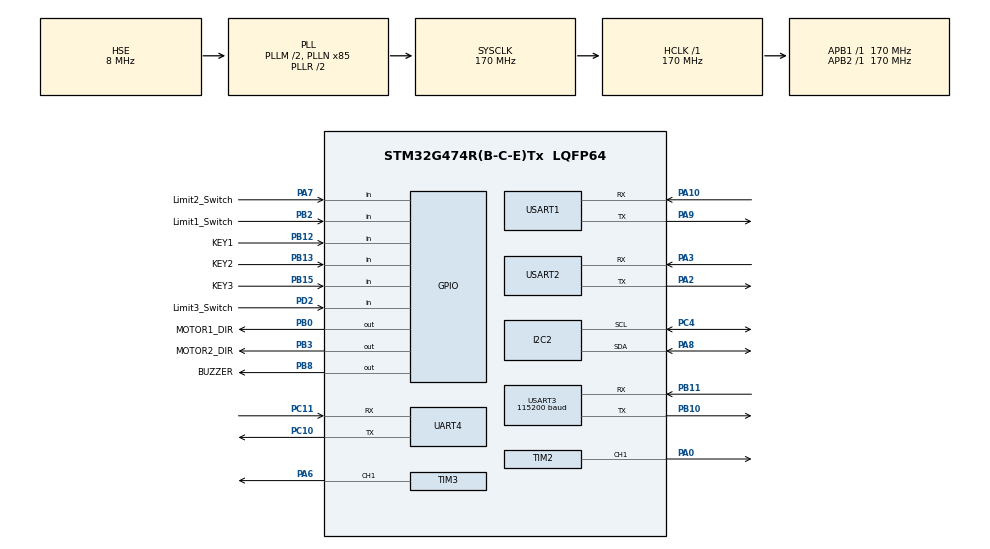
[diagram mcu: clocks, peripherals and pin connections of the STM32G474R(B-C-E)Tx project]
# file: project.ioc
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I2C2.Timing=0x40B285C2
Mcu.Family=STM32G4
Mcu.Name=STM32G474R(B-C-E)Tx
Mcu.Package=LQFP64
NVIC.PriorityGroup=NVIC_PRIORITYGROUP_4
NVIC.TIM2_IRQn=true\:0\:0\:false\:false\:true\:true\:true\:true
NVIC.TIM3_IRQn=true\:0\:0\:false\:false\:true\:true\:true\:true
NVIC.USART1_IRQn=true\:0\:0\:false\:false\:true\:true\:true\:true
NVIC.USART2_IRQn=true\:2\:0\:true\:false\:true\:true\:true\:true
NVIC.USART3_IRQn=true\:0\:0\:false\:false\:true\:true\:true\:true
PA0.GPIO_Speed=GPIO_SPEED_FREQ_HIGH
PA0.Signal=S_TIM2_CH1
PA10.GPIO_Speed=GPIO_SPEED_FREQ_HIGH
PA10.Mode=Asynchronous
PA10.Signal=USART1_RX
PA13.Mode=Serial_Wire
PA13.Signal=SYS_JTMS-SWDIO
PA14.Mode=Serial_Wire
PA14.Signal=SYS_JTCK-SWCLK
PA2.GPIO_Speed=GPIO_SPEED_FREQ_HIGH
PA2.Mode=Asynchronous
PA2.Signal=USART2_TX
PA3.GPIO_Speed=GPIO_SPEED_FREQ_HIGH
PA3.Mode=Asynchronous
PA3.Signal=USART2_RX
PA6.GPIO_Speed=GPIO_SPEED_FREQ_HIGH
PA6.Signal=S_TIM3_CH1
PA7.GPIO_Label=Limit2_Switch
PA7.GPIO_PuPd=GPIO_PULLUP
PA7.Signal=GPIO_Input
PA8.GPIO_Speed=GPIO_SPEED_FREQ_HIGH
PA8.Mode=I2C
PA8.Signal=I2C2_SDA
PA9.GPIO_Speed=GPIO_SPEED_FREQ_HIGH
PA9.Mode=Asynchronous
PA9.Signal=USART1_TX
PB0.GPIO_Label=MOTOR1_DIR
PB0.Signal=GPIO_Output
PB10.GPIO_Speed=GPIO_SPEED_FREQ_HIGH
PB10.Mode=Asynchronous
PB10.Signal=USART3_TX
PB11.GPIO_Speed=GPIO_SPEED_FREQ_HIGH
PB11.Mode=Asynchronous
PB11.Signal=USART3_RX
PB12.GPIO_Label=KEY1
PB12.GPIO_PuPd=GPIO_PULLUP
PB12.Signal=GPIO_Input
PB13.GPIO_Label=KEY2
PB13.GPIO_PuPd=GPIO_PULLUP
PB13.Signal=GPIO_Input
PB15.GPIO_Label=KEY3
PB15.GPIO_PuPd=GPIO_PULLUP
PB15.Signal=GPIO_Input
PB2.GPIO_Label=Limit1_Switch
PB2.GPIO_PuPd=GPIO_PULLUP
PB2.Signal=GPIO_Input
PB3.GPIO_Label=MOTOR2_DIR
PB3.Signal=GPIO_Output
PB8-BOOT0.GPIO_Label=BUZZER
PB8-BOOT0.PinState=GPIO_PIN_SET
PB8-BOOT0.Signal=GPIO_Output
PC10.Mode=Asynchronous
PC10.Signal=UART4_TX
PC11.Mode=Asynchronous
PC11.Signal=UART4_RX
PC4.GPIO_Speed=GPIO_SPEED_FREQ_HIGH
PC4.Mode=I2C
PC4.Signal=I2C2_SCL
PD2.GPIO_Label=Limit3_Switch
PD2.GPIO_PuPd=GPIO_PULLUP
PD2.Signal=GPIO_Input
PF0-OSC_IN.Mode=HSE-External-Oscillator
PF0-OSC_IN.Signal=RCC_OSC_IN
PF1-OSC_OUT.Mode=HSE-External-Oscillator
PF1-OSC_OUT.Signal=RCC_OSC_OUT
ProjectManager.HeapSize=0x200
ProjectManager.StackSize=0x400
ProjectManager.TargetToolchain=MDK-ARM V5.32
RCC.ADC12Freq_Value=170000000
RCC.ADC345Freq_Value=170000000
RCC.AHBFreq_Value=170000000
RCC.APB1Freq_Value=170000000
RCC.APB1TimFreq_Value=170000000
RCC.APB2Freq_Value=170000000
RCC.APB2TimFreq_Value=170000000
RCC.CortexFreq_Value=170000000
RCC.EXTERNAL_CLOCK_VALUE=12288000
RCC.HCLKFreq_Value=170000000
RCC.HSE_VALUE=8000000
RCC.HSI48_VALUE=48000000
RCC.HSI_VALUE=16000000
RCC.LSE_VALUE=32768
RCC.PLLM=RCC_PLLM_DIV2
RCC.PLLN=85
RCC.PLLSourceVirtual=RCC_PLLSOURCE_HSE
RCC.SYSCLKFreq_VALUE=170000000
RCC.SYSCLKSource=RCC_SYSCLKSOURCE_PLLCLK
RCC.USBFreq_Value=170000000
RCC.VCOOutputFreq_Value=340000000
SH.S_TIM2_CH1.0=TIM2_CH1,Output Compare1 CH1
SH.S_TIM3_CH1.0=TIM3_CH1,Output Compare1 CH1
TIM2.Channel-Output\ Compare1\ CH1=TIM_CHANNEL_1
TIM2.OCMode_1=TIM_OCMODE_TOGGLE
TIM2.PeriodNoDither=65535
TIM2.Prescaler=169
TIM3.Channel-Output\ Compare1\ CH1=TIM_CHANNEL_1
TIM3.OCMode_1=TIM_OCMODE_TOGGLE
TIM3.Prescaler=169
USART1.VirtualMode-Asynchronous=VM_ASYNC
USART2.VirtualMode-Asynchronous=VM_ASYNC
USART3.BaudRate=115200
USART3.VirtualMode-Asynchronous=VM_ASYNC
VP_SYS_VS_DBSignals.Mode=DisableDeadBatterySignals
VP_TIM2_VS_ClockSourceINT.Mode=Internal
VP_TIM3_VS_ClockSourceINT.Mode=Internal
board=custom

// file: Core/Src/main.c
/* USER CODE BEGIN Header */
/**
  ******************************************************************************
  * @file           : main.c
  * @brief          : Main program body
  ******************************************************************************
  * @attention
  *
  * Copyright (c) 2026 STMicroelectronics.
  * All rights reserved.
  *
  * This software is licensed under terms that can be found in the LICENSE file
  * in the root directory of this software component.
  * If no LICENSE file comes with this software, it is provided AS-IS.
  *
  ******************************************************************************
  */
/* USER CODE END Header */
#include "main.h"

/* USER CODE BEGIN Includes */
#include "Motor.h"
#include "display.h"
#include "SCServo.h"
#include "task_key.h"
#include "vision.h"
#include "uart.h"
#include "OLED.h"
#include <stdio.h>
/* USER CODE END Includes */

I2C_HandleTypeDef hi2c2;

TIM_HandleTypeDef htim2;
TIM_HandleTypeDef htim3;

UART_HandleTypeDef huart4;
UART_HandleTypeDef huart1;
UART_HandleTypeDef huart2;
UART_HandleTypeDef huart3;

/* USER CODE BEGIN PV */
StepperMotor motor1;
StepperMotor motor2;
int oled_sent_flag = 0;   /* OLED 发送状态 */
/* USER CODE END PV */

void SystemClock_Config(void);
static void MX_GPIO_Init(void);
static void MX_TIM2_Init(void);
static void MX_TIM3_Init(void);
static void MX_UART4_Init(void);
static void MX_USART2_UART_Init(void);
static void MX_USART1_UART_Init(void);
static void MX_USART3_UART_Init(void);
static void MX_I2C2_Init(void);

/* USER CODE BEGIN 0 */
#define BEEP_ON()   HAL_GPIO_WritePin(BUZZER_GPIO_Port, BUZZER_Pin, GPIO_PIN_RESET)   // 低电平触发
#define BEEP_OFF()  HAL_GPIO_WritePin(BUZZER_GPIO_Port, BUZZER_Pin, GPIO_PIN_SET)
/* USER CODE END 0 */

int main(void)
{

  /* MCU Configuration--------------------------------------------------------*/

  /* Reset of all peripherals, Initializes the Flash interface and the Systick. */
  HAL_Init();

  /* Configure the system clock */
  SystemClock_Config();

  /* Initialize all configured peripherals */
  MX_GPIO_Init();
  MX_TIM2_Init();
  MX_TIM3_Init();
  MX_UART4_Init();
  MX_USART2_UART_Init();
  MX_USART1_UART_Init();
  MX_USART3_UART_Init();
  MX_I2C2_Init();
  /* USER CODE BEGIN 2 */
  /* --- 显示 --- */
  Display_Init();
  HAL_Delay(200);

  /* --- 电机1: TIM3_CH1(PA6), DIR=PB0 --- */
  Stepper_Init(&motor1, &htim3, TIM_CHANNEL_1,
               GPIOB, MOTOR1_DIR_Pin, NULL, 0,
               GPIOB, Limit1_Switch_Pin);
  Stepper_SetLimit2(&motor1, GPIOD, Limit3_Switch_Pin);

  /* --- 电机2: TIM2_CH1(PA0), DIR=PB3 --- */
  Stepper_Init(&motor2, &htim2, TIM_CHANNEL_1,
               GPIOB, MOTOR2_DIR_Pin, NULL, 0,
               GPIOA, Limit2_Switch_Pin);

  OLED_Init();
  OLED_Clear();
  OLED_ShowString(0, 0, "Q:", OLED_8X16);
  OLED_ShowNum(16, 0, scan.question_num, 1, OLED_8X16);
  OLED_ShowString(40, 0, "S:0", OLED_8X16);
  OLED_ShowString(0, 16, "1:", OLED_8X16);
  OLED_ShowString(0, 32, "2:", OLED_8X16);
  OLED_Update();

  // Stepper_SetSpeed(&motor1, -150);
  // while (HAL_GPIO_ReadPin(Limit1_Switch_GPIO_Port, Limit1_Switch_Pin) != GPIO_PIN_RESET) {
  //     HAL_Delay(1);                                              /* 等 Limit1 变低 */
  // }
  // Stepper_Stop(&motor1);
  // /* --- 电机初始化 --- */
  motor1.position = 0;
  motor2.position = 0;

  // Stepper_MoveRel_Limit(&motor1, -3000, 60);
  // while (motor1.running) {
  //     OLED_ShowString(0, 16, "1:", OLED_8X16);
  //     OLED_ShowSignedNum(16, 22, motor1.position, 8, OLED_8X16);
  //     OLED_Update();
  //     HAL_Delay(1);
  // }
  // if (motor1.remaining > 0) {
  //     OLED_ShowString(0, 16, "Full:", OLED_8X16);
  //     OLED_ShowSignedNum(40, 22, motor1.remaining, 8, OLED_8X16);
  //     OLED_Update();
  //     HAL_Delay(2000);
  // }

  // Stepper_MoveRel_Limit(&motor2, -3000, 60);
  // while (motor2.running) {
  //     OLED_ShowString(0, 32, "2:", OLED_8X16);
  //     OLED_ShowSignedNum(16, 44, motor2.position, 8, OLED_8X16);
  //     OLED_Update();
  //     HAL_Delay(1);
  // }
  // if (motor2.remaining > 0) {
  //     OLED_ShowString(0, 32, "Full:", OLED_8X16);
  //     OLED_ShowSignedNum(40, 44, motor2.remaining, 8, OLED_8X16);
  //     OLED_Update();
  //     HAL_Delay(2000);
  // }
  /* --- 舵机多圈测试: 解锁角度限制, 直接跨圈 --- */
  Servo_SetUART(&huart2);
  EnableTorque(1, 1);
  HAL_Delay(100);

  /* 解除角度限制 (使能多圈模式) */
  unLockEprom(1);
  writeWord(1, SMS_STS_MIN_ANGLE_LIMIT_L, 0);
  writeWord(1, SMS_STS_MAX_ANGLE_LIMIT_L, 0);
  LockEprom(1);
  HAL_Delay(50);

  /* 先到 0 */
///WritePosEx(1, 0, 90, 0);

  /* 往前走 5000 步: WritePosEx 直接传负值, 舵机会跨圈走过去 */
  WritePosEx(1, -6300, 90, 0);

  /* --- 视觉通讯 --- */
  Vision_Init();
  /* USER CODE END 2 */

  /* Infinite loop */
  while (1)
  {

    /* USER CODE BEGIN 3 */
    Key_Scan();

    /* --- OLED 实时显示: 题号 / 状态 / 双电机脉冲 --- */
    {
        static int32_t last_pos1 = 0, last_pos2 = 0;
        static int16_t last_qnum = 0;
        static uint8_t  last_state = 0;

        if (motor1.position   != last_pos1  ||
            motor2.position   != last_pos2  ||
            scan.question_num != last_qnum  ||
            scan.state        != last_state)
        {
            OLED_ShowString(0, 0, "Q:", OLED_8X16);
            OLED_ShowNum(16, 0, scan.question_num, 1, OLED_8X16);
            OLED_ShowString(40, 0, "S:", OLED_8X16);
            OLED_ShowNum(56, 0, scan.state, 1, OLED_8X16);

            OLED_ShowString(0, 16, "1:", OLED_8X16);
            OLED_ShowSignedNum(16, 16, motor1.position, 8, OLED_8X16);

            OLED_ShowString(0, 32, "2:", OLED_8X16);
            OLED_ShowSignedNum(16, 32, motor2.position, 8, OLED_8X16);

            OLED_Update();

            last_pos1  = motor1.position;
            last_pos2  = motor2.position;
            last_qnum  = scan.question_num;
            last_state = scan.state;
        }
    }

    /* --- 题号变化 → 更新串口屏 + 复位视觉 --- */
    {
        static int16_t last_qnum = 1;
        if (scan.question_num != last_qnum) {
            Vision_Reset();
            last_qnum = scan.question_num;
        }
    }

    /* --- state==1 → 持续发送题号给视觉 --- */
    if (scan.state) {
        Vision_SendQuestion(scan.question_num);
    }

    /* --- 视觉数据就绪 → 更新串口屏 --- */
    if (Vision_DataReady()) {
        VisionData_t d;
        Vision_GetData(&d);

        Display_UpdateAngles(d.angles[0], d.angles[1],
                             d.angles[2], d.angles[3]);
        Display_UpdateCoords(d.xs[0], d.ys[0],
                             d.xs[1], d.ys[1],
                             d.xs[2], d.ys[2],
                             d.xs[3], d.ys[3],
                             d.xs[4], d.ys[4],
                             d.xs[5], d.ys[5],
                             d.xs[6], d.ys[6],
                             d.xs[7], d.ys[7]);
        Display_UpdateRxCount(Vision_GetRxCount());
    }

  }
  /* USER CODE END 3 */
}

void SystemClock_Config(void)
{
  RCC_OscInitTypeDef RCC_OscInitStruct = {0};
  RCC_ClkInitTypeDef RCC_ClkInitStruct = {0};

  /** Configure the main internal regulator output voltage
  */
  HAL_PWREx_ControlVoltageScaling(PWR_REGULATOR_VOLTAGE_SCALE1_BOOST);

  /** Initializes the RCC Oscillators according to the specified parameters
  * in the RCC_OscInitTypeDef structure.
  */
  RCC_OscInitStruct.OscillatorType = RCC_OSCILLATORTYPE_HSE;
  RCC_OscInitStruct.HSEState = RCC_HSE_ON;
  RCC_OscInitStruct.PLL.PLLState = RCC_PLL_ON;
  RCC_OscInitStruct.PLL.PLLSource = RCC_PLLSOURCE_HSE;
  RCC_OscInitStruct.PLL.PLLM = RCC_PLLM_DIV2;
  RCC_OscInitStruct.PLL.PLLN = 85;
  RCC_OscInitStruct.PLL.PLLP = RCC_PLLP_DIV2;
  RCC_OscInitStruct.PLL.PLLQ = RCC_PLLQ_DIV2;
  RCC_OscInitStruct.PLL.PLLR = RCC_PLLR_DIV2;
  if (HAL_RCC_OscConfig(&RCC_OscInitStruct) != HAL_OK)
  {
    Error_Handler();
  }

  /** Initializes the CPU, AHB and APB buses clocks
  */
  RCC_ClkInitStruct.ClockType = RCC_CLOCKTYPE_HCLK|RCC_CLOCKTYPE_SYSCLK
                              |RCC_CLOCKTYPE_PCLK1|RCC_CLOCKTYPE_PCLK2;
  RCC_ClkInitStruct.SYSCLKSource = RCC_SYSCLKSOURCE_PLLCLK;
  RCC_ClkInitStruct.AHBCLKDivider = RCC_SYSCLK_DIV1;
  RCC_ClkInitStruct.APB1CLKDivider = RCC_HCLK_DIV1;
  RCC_ClkInitStruct.APB2CLKDivider = RCC_HCLK_DIV1;

  if (HAL_RCC_ClockConfig(&RCC_ClkInitStruct, FLASH_LATENCY_4) != HAL_OK)
  {
    Error_Handler();
  }
}

static void MX_I2C2_Init(void)
{

  hi2c2.Instance = I2C2;
  hi2c2.Init.Timing = 0x40B285C2;
  hi2c2.Init.OwnAddress1 = 0;
  hi2c2.Init.AddressingMode = I2C_ADDRESSINGMODE_7BIT;
  hi2c2.Init.DualAddressMode = I2C_DUALADDRESS_DISABLE;
  hi2c2.Init.OwnAddress2 = 0;
  hi2c2.Init.OwnAddress2Masks = I2C_OA2_NOMASK;
  hi2c2.Init.GeneralCallMode = I2C_GENERALCALL_DISABLE;
  hi2c2.Init.NoStretchMode = I2C_NOSTRETCH_DISABLE;
  if (HAL_I2C_Init(&hi2c2) != HAL_OK)
  {
    Error_Handler();
  }

  /** Configure Analogue filter
  */
  if (HAL_I2CEx_ConfigAnalogFilter(&hi2c2, I2C_ANALOGFILTER_ENABLE) != HAL_OK)
  {
    Error_Handler();
  }

  /** Configure Digital filter
  */
  if (HAL_I2CEx_ConfigDigitalFilter(&hi2c2, 0) != HAL_OK)
  {
    Error_Handler();
  }

}

static void MX_TIM2_Init(void)
{

  TIM_ClockConfigTypeDef sClockSourceConfig = {0};
  TIM_MasterConfigTypeDef sMasterConfig = {0};
  TIM_OC_InitTypeDef sConfigOC = {0};

  htim2.Instance = TIM2;
  htim2.Init.Prescaler = 169;
  htim2.Init.CounterMode = TIM_COUNTERMODE_UP;
  htim2.Init.Period = 65535;
  htim2.Init.ClockDivision = TIM_CLOCKDIVISION_DIV1;
  htim2.Init.AutoReloadPreload = TIM_AUTORELOAD_PRELOAD_DISABLE;
  if (HAL_TIM_Base_Init(&htim2) != HAL_OK)
  {
    Error_Handler();
  }
  sClockSourceConfig.ClockSource = TIM_CLOCKSOURCE_INTERNAL;
  if (HAL_TIM_ConfigClockSource(&htim2, &sClockSourceConfig) != HAL_OK)
  {
    Error_Handler();
  }
  if (HAL_TIM_OC_Init(&htim2) != HAL_OK)
  {
    Error_Handler();
  }
  sMasterConfig.MasterOutputTrigger = TIM_TRGO_RESET;
  sMasterConfig.MasterSlaveMode = TIM_MASTERSLAVEMODE_DISABLE;
  if (HAL_TIMEx_MasterConfigSynchronization(&htim2, &sMasterConfig) != HAL_OK)
  {
    Error_Handler();
  }
  sConfigOC.OCMode = TIM_OCMODE_TOGGLE;
  sConfigOC.Pulse = 0;
  sConfigOC.OCPolarity = TIM_OCPOLARITY_HIGH;
  sConfigOC.OCFastMode = TIM_OCFAST_DISABLE;
  if (HAL_TIM_OC_ConfigChannel(&htim2, &sConfigOC, TIM_CHANNEL_1) != HAL_OK)
  {
    Error_Handler();
  }
  HAL_TIM_MspPostInit(&htim2);

}

static void MX_TIM3_Init(void)
{

  TIM_ClockConfigTypeDef sClockSourceConfig = {0};
  TIM_MasterConfigTypeDef sMasterConfig = {0};
  TIM_OC_InitTypeDef sConfigOC = {0};

  htim3.Instance = TIM3;
  htim3.Init.Prescaler = 169;
  htim3.Init.CounterMode = TIM_COUNTERMODE_UP;
  htim3.Init.Period = 65535;
  htim3.Init.ClockDivision = TIM_CLOCKDIVISION_DIV1;
  htim3.Init.AutoReloadPreload = TIM_AUTORELOAD_PRELOAD_DISABLE;
  if (HAL_TIM_Base_Init(&htim3) != HAL_OK)
  {
    Error_Handler();
  }
  sClockSourceConfig.ClockSource = TIM_CLOCKSOURCE_INTERNAL;
  if (HAL_TIM_ConfigClockSource(&htim3, &sClockSourceConfig) != HAL_OK)
  {
    Error_Handler();
  }
  if (HAL_TIM_OC_Init(&htim3) != HAL_OK)
  {
    Error_Handler();
  }
  sMasterConfig.MasterOutputTrigger = TIM_TRGO_RESET;
  sMasterConfig.MasterSlaveMode = TIM_MASTERSLAVEMODE_DISABLE;
  if (HAL_TIMEx_MasterConfigSynchronization(&htim3, &sMasterConfig) != HAL_OK)
  {
    Error_Handler();
  }
  sConfigOC.OCMode = TIM_OCMODE_TOGGLE;
  sConfigOC.Pulse = 0;
  sConfigOC.OCPolarity = TIM_OCPOLARITY_HIGH;
  sConfigOC.OCFastMode = TIM_OCFAST_DISABLE;
  if (HAL_TIM_OC_ConfigChannel(&htim3, &sConfigOC, TIM_CHANNEL_1) != HAL_OK)
  {
    Error_Handler();
  }
  HAL_TIM_MspPostInit(&htim3);

}

static void MX_UART4_Init(void)
{

  huart4.Instance = UART4;
  huart4.Init.BaudRate = 115200;
  huart4.Init.WordLength = UART_WORDLENGTH_8B;
  huart4.Init.StopBits = UART_STOPBITS_1;
  huart4.Init.Parity = UART_PARITY_NONE;
  huart4.Init.Mode = UART_MODE_TX_RX;
  huart4.Init.HwFlowCtl = UART_HWCONTROL_NONE;
  huart4.Init.OverSampling = UART_OVERSAMPLING_16;
  huart4.Init.OneBitSampling = UART_ONE_BIT_SAMPLE_DISABLE;
  huart4.Init.ClockPrescaler = UART_PRESCALER_DIV1;
  huart4.AdvancedInit.AdvFeatureInit = UART_ADVFEATURE_NO_INIT;
  if (HAL_UART_Init(&huart4) != HAL_OK)
  {
    Error_Handler();
  }
  if (HAL_UARTEx_SetTxFifoThreshold(&huart4, UART_TXFIFO_THRESHOLD_1_8) != HAL_OK)
  {
    Error_Handler();
  }
  if (HAL_UARTEx_SetRxFifoThreshold(&huart4, UART_RXFIFO_THRESHOLD_1_8) != HAL_OK)
  {
    Error_Handler();
  }
  if (HAL_UARTEx_DisableFifoMode(&huart4) != HAL_OK)
  {
    Error_Handler();
  }

}

static void MX_USART1_UART_Init(void)
{

  huart1.Instance = USART1;
  huart1.Init.BaudRate = 115200;
  huart1.Init.WordLength = UART_WORDLENGTH_8B;
  huart1.Init.StopBits = UART_STOPBITS_1;
  huart1.Init.Parity = UART_PARITY_NONE;
  huart1.Init.Mode = UART_MODE_TX_RX;
  huart1.Init.HwFlowCtl = UART_HWCONTROL_NONE;
  huart1.Init.OverSampling = UART_OVERSAMPLING_16;
  huart1.Init.OneBitSampling = UART_ONE_BIT_SAMPLE_DISABLE;
  huart1.Init.ClockPrescaler = UART_PRESCALER_DIV1;
  huart1.AdvancedInit.AdvFeatureInit = UART_ADVFEATURE_NO_INIT;
  if (HAL_UART_Init(&huart1) != HAL_OK)
  {
    Error_Handler();
  }
  if (HAL_UARTEx_SetTxFifoThreshold(&huart1, UART_TXFIFO_THRESHOLD_1_8) != HAL_OK)
  {
    Error_Handler();
  }
  if (HAL_UARTEx_SetRxFifoThreshold(&huart1, UART_RXFIFO_THRESHOLD_1_8) != HAL_OK)
  {
    Error_Handler();
  }
  if (HAL_UARTEx_DisableFifoMode(&huart1) != HAL_OK)
  {
    Error_Handler();
  }

}

static void MX_USART2_UART_Init(void)
{

  huart2.Instance = USART2;
  huart2.Init.BaudRate = 115200;
  huart2.Init.WordLength = UART_WORDLENGTH_8B;
  huart2.Init.StopBits = UART_STOPBITS_1;
  huart2.Init.Parity = UART_PARITY_NONE;
  huart2.Init.Mode = UART_MODE_TX_RX;
  huart2.Init.HwFlowCtl = UART_HWCONTROL_NONE;
  huart2.Init.OverSampling = UART_OVERSAMPLING_16;
  huart2.Init.OneBitSampling = UART_ONE_BIT_SAMPLE_DISABLE;
  huart2.Init.ClockPrescaler = UART_PRESCALER_DIV1;
  huart2.AdvancedInit.AdvFeatureInit = UART_ADVFEATURE_NO_INIT;
  if (HAL_UART_Init(&huart2) != HAL_OK)
  {
    Error_Handler();
  }
  if (HAL_UARTEx_SetTxFifoThreshold(&huart2, UART_TXFIFO_THRESHOLD_1_8) != HAL_OK)
  {
    Error_Handler();
  }
  if (HAL_UARTEx_SetRxFifoThreshold(&huart2, UART_RXFIFO_THRESHOLD_1_8) != HAL_OK)
  {
    Error_Handler();
  }
  if (HAL_UARTEx_DisableFifoMode(&huart2) != HAL_OK)
  {
    Error_Handler();
  }

}

static void MX_USART3_UART_Init(void)
{

  huart3.Instance = USART3;
  huart3.Init.BaudRate = 115200;
  huart3.Init.WordLength = UART_WORDLENGTH_8B;
  huart3.Init.StopBits = UART_STOPBITS_1;
  huart3.Init.Parity = UART_PARITY_NONE;
  huart3.Init.Mode = UART_MODE_TX_RX;
  huart3.Init.HwFlowCtl = UART_HWCONTROL_NONE;
  huart3.Init.OverSampling = UART_OVERSAMPLING_16;
  huart3.Init.OneBitSampling = UART_ONE_BIT_SAMPLE_DISABLE;
  huart3.Init.ClockPrescaler = UART_PRESCALER_DIV1;
  huart3.AdvancedInit.AdvFeatureInit = UART_ADVFEATURE_NO_INIT;
  if (HAL_UART_Init(&huart3) != HAL_OK)
  {
    Error_Handler();
  }
  if (HAL_UARTEx_SetTxFifoThreshold(&huart3, UART_TXFIFO_THRESHOLD_1_8) != HAL_OK)
  {
    Error_Handler();
  }
  if (HAL_UARTEx_SetRxFifoThreshold(&huart3, UART_RXFIFO_THRESHOLD_1_8) != HAL_OK)
  {
    Error_Handler();
  }
  if (HAL_UARTEx_DisableFifoMode(&huart3) != HAL_OK)
  {
    Error_Handler();
  }

}

static void MX_GPIO_Init(void)
{
  GPIO_InitTypeDef GPIO_InitStruct = {0};

  /* GPIO Ports Clock Enable */
  __HAL_RCC_GPIOF_CLK_ENABLE();
  __HAL_RCC_GPIOA_CLK_ENABLE();
  __HAL_RCC_GPIOC_CLK_ENABLE();
  __HAL_RCC_GPIOB_CLK_ENABLE();
  __HAL_RCC_GPIOD_CLK_ENABLE();

  /*Configure GPIO pin Output Level */
  HAL_GPIO_WritePin(GPIOB, MOTOR1_DIR_Pin|MOTOR2_DIR_Pin, GPIO_PIN_RESET);

  /*Configure GPIO pin Output Level */
  HAL_GPIO_WritePin(BUZZER_GPIO_Port, BUZZER_Pin, GPIO_PIN_SET);

  /*Configure GPIO pin : Limit2_Switch_Pin */
  GPIO_InitStruct.Pin = Limit2_Switch_Pin;
  GPIO_InitStruct.Mode = GPIO_MODE_INPUT;
  GPIO_InitStruct.Pull = GPIO_PULLUP;
  HAL_GPIO_Init(Limit2_Switch_GPIO_Port, &GPIO_InitStruct);

  /*Configure GPIO pins : MOTOR1_DIR_Pin MOTOR2_DIR_Pin BUZZER_Pin */
  GPIO_InitStruct.Pin = MOTOR1_DIR_Pin|MOTOR2_DIR_Pin|BUZZER_Pin;
  GPIO_InitStruct.Mode = GPIO_MODE_OUTPUT_PP;
  GPIO_InitStruct.Pull = GPIO_NOPULL;
  GPIO_InitStruct.Speed = GPIO_SPEED_FREQ_LOW;
  HAL_GPIO_Init(GPIOB, &GPIO_InitStruct);

  /*Configure GPIO pins : Limit1_Switch_Pin KEY1_Pin KEY2_Pin KEY3_Pin */
  GPIO_InitStruct.Pin = Limit1_Switch_Pin|KEY1_Pin|KEY2_Pin|KEY3_Pin;
  GPIO_InitStruct.Mode = GPIO_MODE_INPUT;
  GPIO_InitStruct.Pull = GPIO_PULLUP;
  HAL_GPIO_Init(GPIOB, &GPIO_InitStruct);

  /*Configure GPIO pin : Limit3_Switch_Pin */
  GPIO_InitStruct.Pin = Limit3_Switch_Pin;
  GPIO_InitStruct.Mode = GPIO_MODE_INPUT;
  GPIO_InitStruct.Pull = GPIO_PULLUP;
  HAL_GPIO_Init(Limit3_Switch_GPIO_Port, &GPIO_InitStruct);

  /* USER CODE BEGIN MX_GPIO_Init_2 */
  GPIO_InitStruct.Pin = BUZZER_Pin;
  GPIO_InitStruct.Mode = GPIO_MODE_OUTPUT_PP;
  GPIO_InitStruct.Pull = GPIO_NOPULL;
  GPIO_InitStruct.Speed = GPIO_SPEED_FREQ_LOW;
  HAL_GPIO_Init(BUZZER_GPIO_Port, &GPIO_InitStruct);

  /* USER CODE END MX_GPIO_Init_2 */
}

/* USER CODE BEGIN 4 */
void HAL_TIM_OC_DelayElapsedCallback(TIM_HandleTypeDef *htim)
{
    if (htim->Instance == TIM2) {
        Stepper_IRQHandler(&motor2);
    } else if (htim->Instance == TIM3) {
        Stepper_IRQHandler(&motor1);
    }
}
/* USER CODE END 4 */

void Error_Handler(void)
{
  __disable_irq();
  while (1)
  {
  }
}
